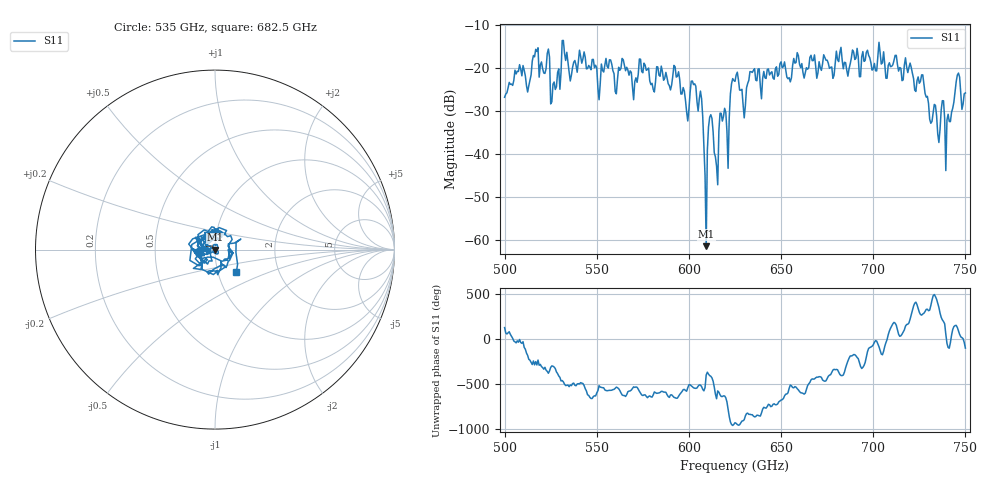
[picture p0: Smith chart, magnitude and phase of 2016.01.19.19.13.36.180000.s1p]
!Created with skrf (http://scikit-rf.org).
# GHz S RI R 50.0
!freq ReS11 ImS11
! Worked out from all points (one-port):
!   401 points, 500 GHz to 750 GHz, reference 50 ohm
!   lowest |S11| = -61.4 dB at 609.4 GHz (marker M1), VSWR 1.00, Z = 50.1 - j0.0541 ohm
!   |S11| at or under -10 dB: start of sweep to end of sweep
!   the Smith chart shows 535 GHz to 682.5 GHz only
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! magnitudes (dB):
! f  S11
! 500 GHz  -26.9
! 506.9 GHz  -20.8
! 513.1 GHz  -24.2
! 516.9 GHz  -15.7
! 523.1 GHz  -16.7
! 526.2 GHz  -23.8
! 531.2 GHz  -13.7
! 550.6 GHz  -24.7
! 562.5 GHz  -20.6
! 593.8 GHz  -22.0
! 598.8 GHz  -30.2
! 602.5 GHz  -23.9
! 606.2 GHz  -25.4
! 609.4 GHz  -61.4
! 611.9 GHz  -30.9
! 615 GHz  -42.9
! 617.5 GHz  -30.6
! 621.2 GHz  -43.3
! 625 GHz  -23.2
! 629.4 GHz  -28.5
! 634.4 GHz  -21.1
! 656.2 GHz  -19.5
! 687.5 GHz  -19.1
! 718.8 GHz  -21.1
! 735.6 GHz  -37.3
! 740.6 GHz  -30.8
! 745.6 GHz  -21.7
! 750 GHz  -25.9
